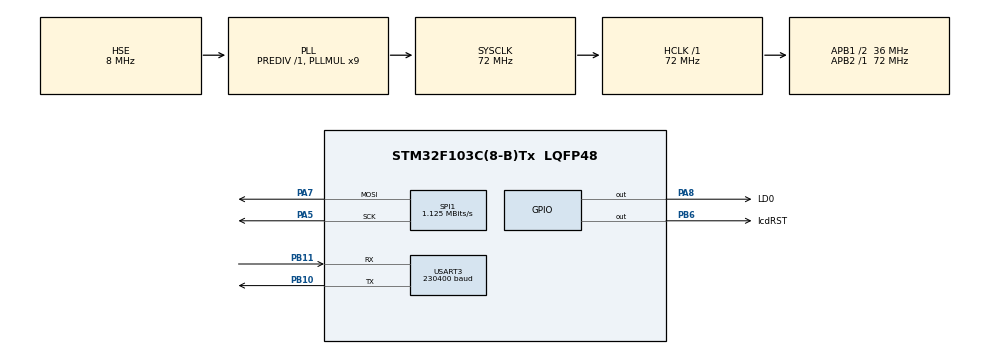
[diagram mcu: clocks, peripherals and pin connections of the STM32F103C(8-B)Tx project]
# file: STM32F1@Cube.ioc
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Mcu.Family=STM32F1
Mcu.Name=STM32F103C(8-B)Tx
Mcu.Package=LQFP48
NVIC.PriorityGroup=NVIC_PRIORITYGROUP_4
NVIC.SPI1_IRQn=true\:14\:0\:true\:false\:true\:true\:true\:true
NVIC.USART3_IRQn=true\:0\:0\:false\:false\:true\:true\:true\:true
PA13.Mode=Serial_Wire
PA13.Signal=SYS_JTMS-SWDIO
PA14.Mode=Serial_Wire
PA14.Signal=SYS_JTCK-SWCLK
PA5.Mode=TX_Only_Simplex_Unidirect_Master
PA5.Signal=SPI1_SCK
PA7.Mode=TX_Only_Simplex_Unidirect_Master
PA7.Signal=SPI1_MOSI
PA8.GPIO_Label=LD0
PA8.GPIO_PuPd=GPIO_PULLDOWN
PA8.PinState=GPIO_PIN_SET
PA8.Signal=GPIO_Output
PB10.Mode=Asynchronous
PB10.Signal=USART3_TX
PB11.Mode=Asynchronous
PB11.Signal=USART3_RX
PB6.GPIO_Label=lcdRST
PB6.GPIO_PuPd=GPIO_PULLDOWN
PB6.PinState=GPIO_PIN_SET
PB6.Signal=GPIO_Output
PD0-OSC_IN.Mode=HSE-External-Oscillator
PD0-OSC_IN.Signal=RCC_OSC_IN
PD1-OSC_OUT.Mode=HSE-External-Oscillator
PD1-OSC_OUT.Signal=RCC_OSC_OUT
ProjectManager.HeapSize=0x200
ProjectManager.StackSize=0x400
ProjectManager.TargetToolchain=Makefile
RCC.AHBFreq_Value=72000000
RCC.APB1CLKDivider=RCC_HCLK_DIV2
RCC.APB1Freq_Value=36000000
RCC.APB1TimFreq_Value=72000000
RCC.APB2Freq_Value=72000000
RCC.APB2TimFreq_Value=72000000
RCC.HCLKFreq_Value=72000000
RCC.PLLMUL=RCC_PLL_MUL9
RCC.PLLSourceVirtual=RCC_PLLSOURCE_HSE
RCC.SYSCLKFreq_VALUE=72000000
RCC.SYSCLKSource=RCC_SYSCLKSOURCE_PLLCLK
RCC.USBFreq_Value=72000000
SPI1.BaudRatePrescaler=SPI_BAUDRATEPRESCALER_64
SPI1.CalculateBaudRate=1.125 MBits/s
SPI1.Direction=SPI_DIRECTION_2LINES
SPI1.Mode=SPI_MODE_MASTER
SPI1.VirtualType=VM_MASTER
TIM1.Period=65535-1
TIM1.Prescaler=9-1
USART3.BaudRate=230400
USART3.VirtualMode=VM_ASYNC
VP_TIM1_VS_ClockSourceINT.Mode=Internal
board=custom

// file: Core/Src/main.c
/* USER CODE BEGIN Header */
/**
  ******************************************************************************
  * @file           : main.c
  * @brief          : Main program body
  ******************************************************************************
  * @attention
  *
  * Copyright (c) 2024 STMicroelectronics.
  * All rights reserved.
  *
  * This software is licensed under terms that can be found in the LICENSE file
  * in the root directory of this software component.
  * If no LICENSE file comes with this software, it is provided AS-IS.
  *
  ******************************************************************************
  */
/* USER CODE END Header */
#include "main.h"

/* USER CODE BEGIN Includes */
#include <stdio.h>
#include <stdint.h>
#include <string.h>
/* USER CODE END Includes */

/* USER CODE BEGIN PD */
#define FUNC_SET     0x30
#define CLEAR_ALL    0x01
#define ENTRY_SETUP  0x06
#define DISPLAY_ALL  0x0F
#define CURSOR_HOME  0x02
#define DRAW_MODE    0x32
/* USER CODE END PD */

SPI_HandleTypeDef hspi1;

TIM_HandleTypeDef htim1;

UART_HandleTypeDef huart3;

/* USER CODE BEGIN PV */
uint8_t RxTempBuf[1] = "\0";
uint8_t TRANS_FLAG = 0;
int cnt = 0;
uint8_t RxFRAME[1024] = { 0 };
/* USER CODE END PV */

void SystemClock_Config(void);
static void MX_GPIO_Init(void);
static void MX_SPI1_Init(void);
static void MX_USART3_UART_Init(void);
static void MX_TIM1_Init(void);

/* USER CODE BEGIN 0 */
void delay_us (uint16_t us) {
	__HAL_TIM_SET_COUNTER(&htim1,0);
	while (__HAL_TIM_GET_COUNTER(&htim1) < us);
}

void LCD_SEND_BYTE(uint8_t* bytes) {
  HAL_SPI_Transmit(&hspi1, bytes, 3, 5000);
  delay_us(85);
}

void LCD_WRITE_COMMAND(uint8_t command_hex) {
  uint8_t _comm[3] = {
    0xF8,
    command_hex & 0xF0,
    (command_hex << 4) & 0xF0
  };
  LCD_SEND_BYTE(_comm);
}

void LCD_WRITE_CHAR(uint8_t char_hex) {
  uint8_t _comm[3] = {
    0xFA,
    char_hex & 0xF0,
    (char_hex << 4) & 0xF0
  };
  LCD_SEND_BYTE(_comm);
}

void DrawFullScreen(uint8_t *p)
{
  int ygroup,x,y,i;
  int temp;
  int tmp;

  for(ygroup=0;ygroup<64;ygroup++) {
    if(ygroup<32) {
      x=0x80;
      y=ygroup+0x80;
    }
    else {
      x=0x88;
      y=ygroup-32+0x80;
    }
    LCD_WRITE_COMMAND(0x36);
    LCD_WRITE_COMMAND(y);
    LCD_WRITE_COMMAND(x);
    LCD_WRITE_COMMAND(0x32);
    tmp=ygroup*16;
    for(i=0;i<16;i++) {
      temp=p[tmp++];
      LCD_WRITE_CHAR(temp);
    }
  }
  LCD_WRITE_COMMAND(0x34);
  LCD_WRITE_COMMAND(0x36);
}

void LCD_INIT() {
  LCD_WRITE_COMMAND(0x30);
  LCD_WRITE_COMMAND(0x0c);
  LCD_WRITE_COMMAND(0x01);
  LCD_WRITE_COMMAND(0x06);
}

void LCD_CLEAR() {
  LCD_WRITE_COMMAND(0x01);
  HAL_Delay(1);
}
/* USER CODE END 0 */

int main(void)
{

  /* MCU Configuration--------------------------------------------------------*/

  /* Reset of all peripherals, Initializes the Flash interface and the Systick. */
  HAL_Init();

  /* Configure the system clock */
  SystemClock_Config();

  /* Initialize all configured peripherals */
  MX_GPIO_Init();
  MX_SPI1_Init();
  MX_USART3_UART_Init();
  MX_TIM1_Init();
  /* USER CODE BEGIN 2 */
  HAL_TIM_Base_Start(&htim1);
  HAL_UART_Receive_IT(&huart3, RxTempBuf, 1);

  HAL_Delay(50);
  HAL_GPIO_WritePin(lcdRST_GPIO_Port, lcdRST_Pin, GPIO_PIN_RESET);
  HAL_Delay(50);
  HAL_GPIO_WritePin(lcdRST_GPIO_Port, lcdRST_Pin, GPIO_PIN_SET);

  LCD_INIT();
  HAL_Delay(100);

  char msg[] = "Waiting Frame...";
  for(int i=0;i<strlen(msg);i++) {
    uint8_t _c = msg[i];
    LCD_WRITE_CHAR(_c);
  }
  LCD_WRITE_COMMAND(0x0C);
  HAL_Delay(500);
  /* USER CODE END 2 */

  /* Infinite loop */
  while (1)
  {

    /* USER CODE BEGIN 3 */
    if(TRANS_FLAG == 0) {
      // delay_us(10);
      uint8_t _req[] = "REQ";
      HAL_UART_Transmit(&huart3, _req, 3, 100);
      TRANS_FLAG = 1;
    }
    if(TRANS_FLAG == 3) {
      LCD_CLEAR();
      DrawFullScreen(RxFRAME);
      TRANS_FLAG = 0;
    }
  }
  /* USER CODE END 3 */
}

void SystemClock_Config(void)
{
  RCC_OscInitTypeDef RCC_OscInitStruct = {0};
  RCC_ClkInitTypeDef RCC_ClkInitStruct = {0};

  /** Initializes the RCC Oscillators according to the specified parameters
  * in the RCC_OscInitTypeDef structure.
  */
  RCC_OscInitStruct.OscillatorType = RCC_OSCILLATORTYPE_HSE;
  RCC_OscInitStruct.HSEState = RCC_HSE_ON;
  RCC_OscInitStruct.HSEPredivValue = RCC_HSE_PREDIV_DIV1;
  RCC_OscInitStruct.HSIState = RCC_HSI_ON;
  RCC_OscInitStruct.PLL.PLLState = RCC_PLL_ON;
  RCC_OscInitStruct.PLL.PLLSource = RCC_PLLSOURCE_HSE;
  RCC_OscInitStruct.PLL.PLLMUL = RCC_PLL_MUL9;
  if (HAL_RCC_OscConfig(&RCC_OscInitStruct) != HAL_OK)
  {
    Error_Handler();
  }

  /** Initializes the CPU, AHB and APB buses clocks
  */
  RCC_ClkInitStruct.ClockType = RCC_CLOCKTYPE_HCLK|RCC_CLOCKTYPE_SYSCLK
                              |RCC_CLOCKTYPE_PCLK1|RCC_CLOCKTYPE_PCLK2;
  RCC_ClkInitStruct.SYSCLKSource = RCC_SYSCLKSOURCE_PLLCLK;
  RCC_ClkInitStruct.AHBCLKDivider = RCC_SYSCLK_DIV1;
  RCC_ClkInitStruct.APB1CLKDivider = RCC_HCLK_DIV2;
  RCC_ClkInitStruct.APB2CLKDivider = RCC_HCLK_DIV1;

  if (HAL_RCC_ClockConfig(&RCC_ClkInitStruct, FLASH_LATENCY_2) != HAL_OK)
  {
    Error_Handler();
  }
}

static void MX_SPI1_Init(void)
{

  /* SPI1 parameter configuration*/
  hspi1.Instance = SPI1;
  hspi1.Init.Mode = SPI_MODE_MASTER;
  hspi1.Init.Direction = SPI_DIRECTION_2LINES;
  hspi1.Init.DataSize = SPI_DATASIZE_8BIT;
  hspi1.Init.CLKPolarity = SPI_POLARITY_LOW;
  hspi1.Init.CLKPhase = SPI_PHASE_1EDGE;
  hspi1.Init.NSS = SPI_NSS_SOFT;
  hspi1.Init.BaudRatePrescaler = SPI_BAUDRATEPRESCALER_64;
  hspi1.Init.FirstBit = SPI_FIRSTBIT_MSB;
  hspi1.Init.TIMode = SPI_TIMODE_DISABLE;
  hspi1.Init.CRCCalculation = SPI_CRCCALCULATION_DISABLE;
  hspi1.Init.CRCPolynomial = 10;
  if (HAL_SPI_Init(&hspi1) != HAL_OK)
  {
    Error_Handler();
  }

}

static void MX_TIM1_Init(void)
{

  TIM_ClockConfigTypeDef sClockSourceConfig = {0};
  TIM_MasterConfigTypeDef sMasterConfig = {0};

  htim1.Instance = TIM1;
  htim1.Init.Prescaler = 9-1;
  htim1.Init.CounterMode = TIM_COUNTERMODE_UP;
  htim1.Init.Period = 65535-1;
  htim1.Init.ClockDivision = TIM_CLOCKDIVISION_DIV1;
  htim1.Init.RepetitionCounter = 0;
  htim1.Init.AutoReloadPreload = TIM_AUTORELOAD_PRELOAD_DISABLE;
  if (HAL_TIM_Base_Init(&htim1) != HAL_OK)
  {
    Error_Handler();
  }
  sClockSourceConfig.ClockSource = TIM_CLOCKSOURCE_INTERNAL;
  if (HAL_TIM_ConfigClockSource(&htim1, &sClockSourceConfig) != HAL_OK)
  {
    Error_Handler();
  }
  sMasterConfig.MasterOutputTrigger = TIM_TRGO_RESET;
  sMasterConfig.MasterSlaveMode = TIM_MASTERSLAVEMODE_DISABLE;
  if (HAL_TIMEx_MasterConfigSynchronization(&htim1, &sMasterConfig) != HAL_OK)
  {
    Error_Handler();
  }

}

static void MX_USART3_UART_Init(void)
{

  huart3.Instance = USART3;
  huart3.Init.BaudRate = 230400;
  huart3.Init.WordLength = UART_WORDLENGTH_8B;
  huart3.Init.StopBits = UART_STOPBITS_1;
  huart3.Init.Parity = UART_PARITY_NONE;
  huart3.Init.Mode = UART_MODE_TX_RX;
  huart3.Init.HwFlowCtl = UART_HWCONTROL_NONE;
  huart3.Init.OverSampling = UART_OVERSAMPLING_16;
  if (HAL_UART_Init(&huart3) != HAL_OK)
  {
    Error_Handler();
  }

}

static void MX_GPIO_Init(void)
{
  GPIO_InitTypeDef GPIO_InitStruct = {0};

  /* GPIO Ports Clock Enable */
  __HAL_RCC_GPIOD_CLK_ENABLE();
  __HAL_RCC_GPIOA_CLK_ENABLE();
  __HAL_RCC_GPIOB_CLK_ENABLE();

  /*Configure GPIO pin Output Level */
  HAL_GPIO_WritePin(LD0_GPIO_Port, LD0_Pin, GPIO_PIN_SET);

  /*Configure GPIO pin Output Level */
  HAL_GPIO_WritePin(lcdRST_GPIO_Port, lcdRST_Pin, GPIO_PIN_SET);

  /*Configure GPIO pin : LD0_Pin */
  GPIO_InitStruct.Pin = LD0_Pin;
  GPIO_InitStruct.Mode = GPIO_MODE_OUTPUT_PP;
  GPIO_InitStruct.Pull = GPIO_PULLDOWN;
  GPIO_InitStruct.Speed = GPIO_SPEED_FREQ_LOW;
  HAL_GPIO_Init(LD0_GPIO_Port, &GPIO_InitStruct);

  /*Configure GPIO pin : lcdRST_Pin */
  GPIO_InitStruct.Pin = lcdRST_Pin;
  GPIO_InitStruct.Mode = GPIO_MODE_OUTPUT_PP;
  GPIO_InitStruct.Pull = GPIO_PULLDOWN;
  GPIO_InitStruct.Speed = GPIO_SPEED_FREQ_LOW;
  HAL_GPIO_Init(lcdRST_GPIO_Port, &GPIO_InitStruct);

}

/* USER CODE BEGIN 4 */
void HAL_UART_RxCpltCallback(UART_HandleTypeDef *UartHandle) {
  if(UartHandle->Instance == USART3) {
    RxFRAME[cnt] = RxTempBuf[0];
    cnt++;

    if(cnt >= 1024) {
      TRANS_FLAG = 2;
    }

    switch (TRANS_FLAG) {
      case 1:
        HAL_GPIO_WritePin(LD0_GPIO_Port, LD0_Pin, GPIO_PIN_RESET);
        break;

      case 2:
        HAL_GPIO_WritePin(LD0_GPIO_Port, LD0_Pin, GPIO_PIN_SET);
        TRANS_FLAG = 3;
        cnt = 0;
        break;

      default:
        break;
    }
    HAL_UART_Receive_IT(&huart3, RxTempBuf, 1);
  }
}
/* USER CODE END 4 */

void Error_Handler(void)
{
  __disable_irq();
  while (1)
  {
  }
}
